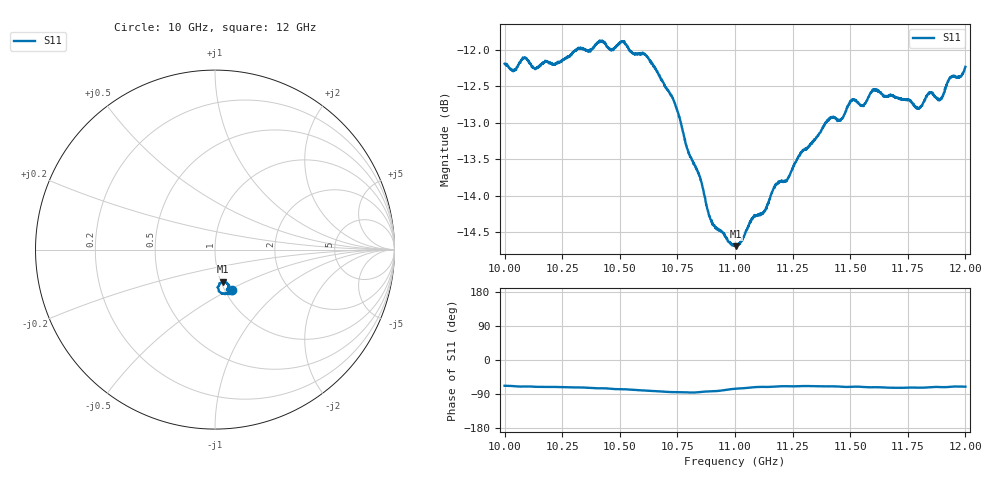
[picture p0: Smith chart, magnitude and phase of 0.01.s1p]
[Version] 2.0
! Rohde & Schwarz Vector Network Analyzer
! Rohde-Schwarz,ZNL20-2Port,1323001220200009,1.71.1.10-23.02.1.238
! Port Assignments:
! Nominal Port -> Actual Test Port
!  1 -> 1
! Created: GMT 2024-09-04 14:18:56
# Hz S DB R 50
[Number of Ports] 1
! freq[Hz]  S11[mag dB]  S11[ang]
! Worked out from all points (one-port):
!   2001 points, 10 GHz to 12 GHz, reference 50 ohm
!   lowest |S11| = -14.7 dB at 11 GHz (marker M1), VSWR 1.45, Z = 51.2 - j18.9 ohm
!   |S11| at or under -10 dB: start of sweep to end of sweep
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[Number of Frequencies] 28
[Network Data]
1e10  -12.19 -68.0
1.004e10  -12.29 -69.0
1.0087e10  -12.11 -69.9
1.0148e10  -12.23 -71.1
1.025e10  -12.14 -71.5
1.0413e10  -11.87 -74.7
1.0463e10  -12.01 -75.9
1.05e10  -11.89 -77.2
1.0618e10  -12.09 -80.7
1.075e10  -12.84 -84.8
1.0815e10  -13.52 -85.9
1.0848e10  -13.74 -84.6
1.0896e10  -14.34 -82.9
1.1e10  -14.66 -75.9
1.1004e10  -14.69 -75.7
1.1095e10  -14.27 -71.2
1.125e10  -13.62 -69.5
1.14e10  -12.97 -69.7
1.146e10  -12.95 -70.3
1.15e10  -12.70 -70.9
1.1556e10  -12.77 -71.1
1.1609e10  -12.54 -71.9
1.175e10  -12.68 -73.0
1.1794e10  -12.79 -72.8
1.1847e10  -12.59 -71.8
1.189e10  -12.68 -71.4
1.1933e10  -12.39 -70.9
1.2e10  -12.23 -70.4
[End]
